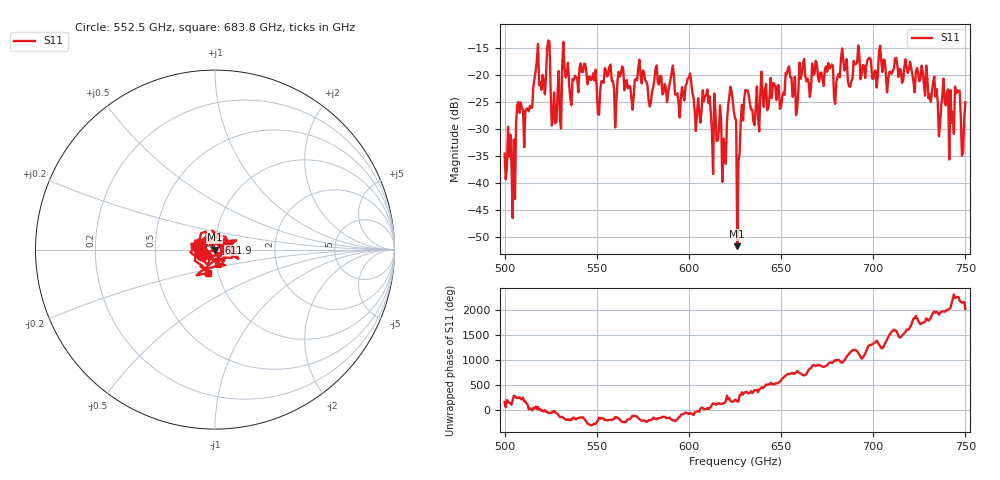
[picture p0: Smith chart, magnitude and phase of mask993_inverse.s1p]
!Created with skrf (http://scikit-rf.org).
# GHz S MA R 50.0
!freq magS11 angS11
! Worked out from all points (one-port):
!   401 points, 500 GHz to 750 GHz, reference 50 ohm
!   lowest |S11| = -51.7 dB at 626.2 GHz (marker M1), VSWR 1.01, Z = 49.7 + j0.0152 ohm
!   |S11| at or under -10 dB: start of sweep to end of sweep
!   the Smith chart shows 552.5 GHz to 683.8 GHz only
!   S11 on the Smith chart (normalised r, x): 552.5 GHz: 0.85, -0.06; 611.9 GHz: 1.04, +0.08; 683.8 GHz: 0.90, -0.24
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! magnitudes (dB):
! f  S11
! 500 GHz  -34.6
! 505 GHz  -32.0
! 507.5 GHz  -25.0
! 511.9 GHz  -26.3
! 516.9 GHz  -19.2
! 523.8 GHz  -13.6
! 526.9 GHz  -23.2
! 531.2 GHz  -18.4
! 552.5 GHz  -21.2
! 562.5 GHz  -20.3
! 579.4 GHz  -25.1
! 590.6 GHz  -19.5
! 593.8 GHz  -23.4
! 600 GHz  -20.5
! 611.9 GHz  -27.0
! 619.4 GHz  -33.3
! 622.5 GHz  -22.2
! 625 GHz  -28.0
! 626.2 GHz  -51.7
! 631.2 GHz  -22.9
! 635 GHz  -28.7
! 656.2 GHz  -24.1
! 680 GHz  -21.3
! 683.8 GHz  -17.3
! 687.5 GHz  -22.2
! 691.2 GHz  -17.7
! 718.8 GHz  -19.6
! 750 GHz  -25.1
